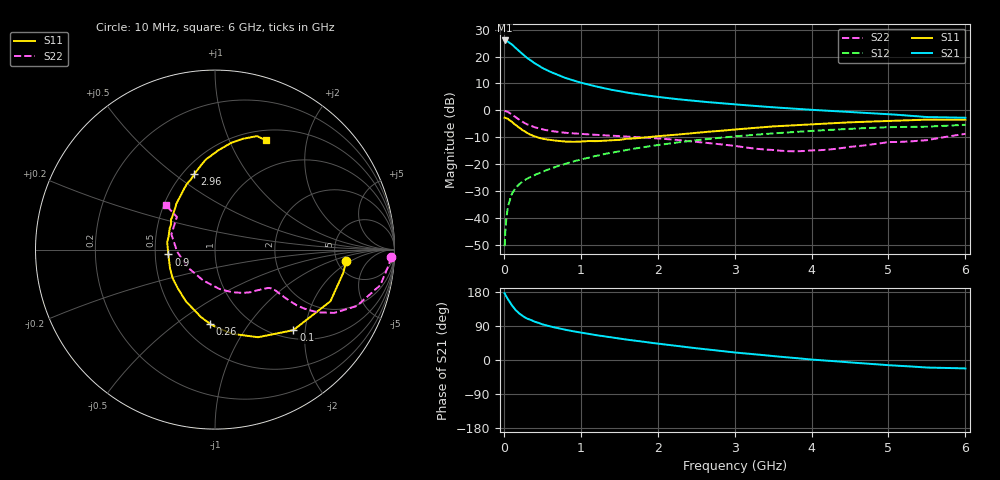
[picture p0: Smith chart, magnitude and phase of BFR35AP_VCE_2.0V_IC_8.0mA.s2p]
! Infineon Technologies  Discrete & RF Semiconductors
! BFR35AP
! VCE =  2.0 V,  IC =  8.0 mA
! Common Emitter S-Parameters:  Nov 2015
# GHz  S  MA  R  50
!  f  S11  S21  S12  S22
! GHz  MAG  ANG  MAG  ANG  MAG  ANG  MAG  ANG
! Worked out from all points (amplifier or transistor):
!   210 points, 10 MHz to 6 GHz, reference 50 ohm
!   highest |S21| = 26.0 dB at 10 MHz (marker M1)
!   |S21| within 3 dB of that: start of sweep to 162.4 MHz
!   unconditionally stable (mu >= 1): 610.7 MHz to 3.922 GHz
!   at 185 MHz: K = 0.51, MSG = 25.1 dB, |S12| = -27.9 dB
!   at 1.52 GHz: K = 1.13, MAG = 8.9 dB, |S12| = -15.1 dB
!   at 6 GHz: K = 0.98, MSG = 1.3 dB, |S12| = -5.3 dB
!   S11 on the Smith chart (normalised r, x): 10 MHz: 6.03, -1.67; 100 MHz: 1.17, -1.73; 260 MHz: 0.68, -0.68; 900 MHz: 0.59, -0.03; 2.96 GHz: 0.57, +0.59; 6 GHz: 0.62, +1.38
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0.01  0.7335 -5.0  19.95 176.2  0.003 89.5  0.9833 -2.4
0.02  0.7268 -10.1  19.85 172.0  0.0058 84.8  0.972 -5.0
0.05  0.7045 -24.1  19.12 161.3  0.0149 77.6  0.9423 -12.1
0.1  0.6259 -45.8  17.09 145.3  0.0271 69.2  0.8514 -21.6
0.15  0.5441 -63.8  14.65 132.1  0.036 63.6  0.7515 -28.0
0.2  0.4795 -78.3  12.62 122.8  0.0425 60.4  0.6707 -31.4
0.24  0.4336 -88.8  11.21 116.9  0.0472 59.0  0.617 -32.9
0.26  0.4156 -93.6  10.6 114.2  0.0494 58.7  0.5934 -33.5
0.3  0.3838 -101.8  9.498 109.5  0.0535 58.6  0.5525 -34.3
0.4  0.3299 -119.7  7.527 101.2  0.0629 58.8  0.4868 -34.5
0.5  0.2984 -134.2  6.158 94.2  0.0719 59.6  0.4437 -34.4
0.6  0.2845 -146.1  5.245 88.7  0.0821 60.2  0.4167 -34.1
0.7  0.2717 -157.3  4.563 83.9  0.0918 60.8  0.3984 -34.1
0.9  0.2611 -174.0  3.602 75.9  0.1124 61.0  0.3742 -35.0
1.02  0.2646 176.3  3.226 71.7  0.124 60.8  0.3644 -36.0
1.4  0.2797 154.3  2.417 59.7  0.1634 59.1  0.3394 -40.9
2.02  0.3344 130.0  1.77 42.8  0.2284 53.6  0.2996 -52.9
2.96  0.436 105.4  1.31 20.8  0.3249 42.6  0.2224 -82.3
3.1  0.4531 102.7  1.263 18.1  0.3376 40.6  0.2091 -88.7
4.1  0.5626 86.6  1.006 -0.2  0.4241 27.4  0.182 -152.6
5.1  0.6434 74.6  0.833 -14.8  0.4896 13.6  0.259 156.2
6  0.6719 64.8  0.73 -22.2  0.5405 3.6  0.3668 137.9
